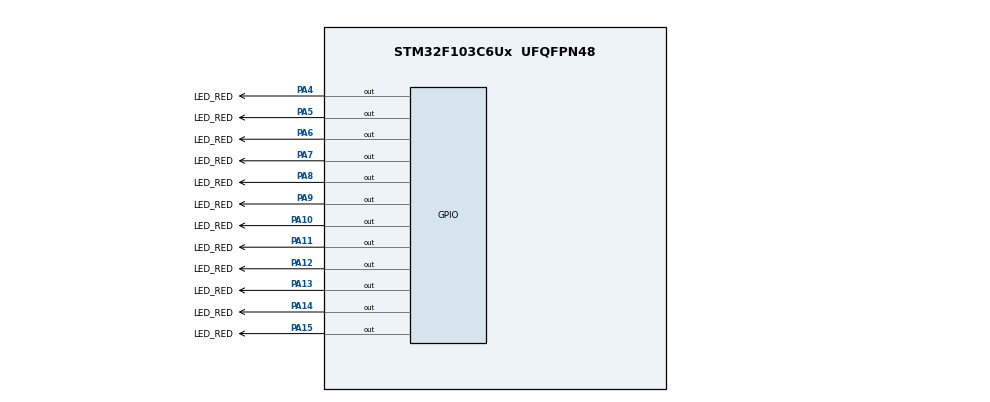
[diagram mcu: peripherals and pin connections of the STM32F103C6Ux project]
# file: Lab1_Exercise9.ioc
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Mcu.Family=STM32F1
Mcu.Name=STM32F103C6Ux
Mcu.Package=UFQFPN48
NVIC.PriorityGroup=NVIC_PRIORITYGROUP_4
PA10.GPIO_Label=LED_RED
PA10.PinState=GPIO_PIN_SET
PA10.Signal=GPIO_Output
PA11.GPIO_Label=LED_RED
PA11.PinState=GPIO_PIN_SET
PA11.Signal=GPIO_Output
PA12.GPIO_Label=LED_RED
PA12.PinState=GPIO_PIN_SET
PA12.Signal=GPIO_Output
PA13.GPIO_Label=LED_RED
PA13.PinState=GPIO_PIN_SET
PA13.Signal=GPIO_Output
PA14.GPIO_Label=LED_RED
PA14.PinState=GPIO_PIN_SET
PA14.Signal=GPIO_Output
PA15.GPIO_Label=LED_RED
PA15.PinState=GPIO_PIN_SET
PA15.Signal=GPIO_Output
PA4.GPIO_Label=LED_RED
PA4.PinState=GPIO_PIN_SET
PA4.Signal=GPIO_Output
PA5.GPIO_Label=LED_RED
PA5.PinState=GPIO_PIN_SET
PA5.Signal=GPIO_Output
PA6.GPIO_Label=LED_RED
PA6.PinState=GPIO_PIN_SET
PA6.Signal=GPIO_Output
PA7.GPIO_Label=LED_RED
PA7.PinState=GPIO_PIN_SET
PA7.Signal=GPIO_Output
PA8.GPIO_Label=LED_RED
PA8.PinState=GPIO_PIN_SET
PA8.Signal=GPIO_Output
PA9.GPIO_Label=LED_RED
PA9.PinState=GPIO_PIN_SET
PA9.Signal=GPIO_Output
ProjectManager.HeapSize=0x200
ProjectManager.StackSize=0x400
ProjectManager.TargetToolchain=STM32CubeIDE
RCC.APB1Freq_Value=8000000
RCC.APB2Freq_Value=8000000
VP_SYS_VS_ND.Mode=No_Debug
board=custom

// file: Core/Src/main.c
/* USER CODE BEGIN Header */
/**
  ******************************************************************************
  * @file           : main.c
  * @brief          : Main program body
  ******************************************************************************
  * @attention
  *
  * <h2><center>&copy; Copyright (c) 2026 STMicroelectronics.
  * All rights reserved.</center></h2>
  *
  * This software component is licensed by ST under BSD 3-Clause license,
  * the "License"; You may not use this file except in compliance with the
  * License. You may obtain a copy of the License at:
  *                        opensource.org/licenses/BSD-3-Clause
  *
  ******************************************************************************
  */
/* USER CODE END Header */
#include "main.h"

/* USER CODE BEGIN PV */
uint8_t demo_ex9[] = {3, 6, 9, 0};
uint8_t index_ex9 = 0;
uint8_t reset_demo_ex9 = 0;
/* USER CODE END PV */

void SystemClock_Config(void);
static void MX_GPIO_Init(void);

/* USER CODE BEGIN 0 */
void setNumberOnClock(int num)
{
    switch (num)
    {
        case 0:
            HAL_GPIO_WritePin(GPIOA, GPIO_PIN_4, GPIO_PIN_RESET);
            break;
        case 1:
            HAL_GPIO_WritePin(GPIOA, GPIO_PIN_5, GPIO_PIN_RESET);
            break;
        case 2:
            HAL_GPIO_WritePin(GPIOA, GPIO_PIN_6, GPIO_PIN_RESET);
            break;
        case 3:
            HAL_GPIO_WritePin(GPIOA, GPIO_PIN_7, GPIO_PIN_RESET);
            break;
        case 4:
            HAL_GPIO_WritePin(GPIOA, GPIO_PIN_8, GPIO_PIN_RESET);
            break;
        case 5:
            HAL_GPIO_WritePin(GPIOA, GPIO_PIN_9, GPIO_PIN_RESET);
            break;
        case 6:
            HAL_GPIO_WritePin(GPIOA, GPIO_PIN_10, GPIO_PIN_RESET);
            break;
        case 7:
            HAL_GPIO_WritePin(GPIOA, GPIO_PIN_11, GPIO_PIN_RESET);
            break;
        case 8:
            HAL_GPIO_WritePin(GPIOA, GPIO_PIN_12, GPIO_PIN_RESET);
            break;
        case 9:
            HAL_GPIO_WritePin(GPIOA, GPIO_PIN_13, GPIO_PIN_RESET);
            break;
        case 10:
            HAL_GPIO_WritePin(GPIOA, GPIO_PIN_14, GPIO_PIN_RESET);
            break;
        case 11:
            HAL_GPIO_WritePin(GPIOA, GPIO_PIN_15, GPIO_PIN_RESET);
            break;
        default:
            break;
    }
}

void clearNumberOnClock(int num)
{
    switch (num)
    {
        case 0:
            HAL_GPIO_WritePin(GPIOA, GPIO_PIN_4, GPIO_PIN_SET);
            break;

        case 1:
            HAL_GPIO_WritePin(GPIOA, GPIO_PIN_5, GPIO_PIN_SET);
            break;

        case 2:
            HAL_GPIO_WritePin(GPIOA, GPIO_PIN_6, GPIO_PIN_SET);
            break;

        case 3:
            HAL_GPIO_WritePin(GPIOA, GPIO_PIN_7, GPIO_PIN_SET);
            break;

        case 4:
            HAL_GPIO_WritePin(GPIOA, GPIO_PIN_8, GPIO_PIN_SET);
            break;

        case 5:
            HAL_GPIO_WritePin(GPIOA, GPIO_PIN_9, GPIO_PIN_SET);
            break;

        case 6:
            HAL_GPIO_WritePin(GPIOA, GPIO_PIN_10, GPIO_PIN_SET);
            break;

        case 7:
            HAL_GPIO_WritePin(GPIOA, GPIO_PIN_11, GPIO_PIN_SET);
            break;

        case 8:
            HAL_GPIO_WritePin(GPIOA, GPIO_PIN_12, GPIO_PIN_SET);
            break;

        case 9:
            HAL_GPIO_WritePin(GPIOA, GPIO_PIN_13, GPIO_PIN_SET);
            break;

        case 10:
            HAL_GPIO_WritePin(GPIOA, GPIO_PIN_14, GPIO_PIN_SET);
            break;

        case 11:
            HAL_GPIO_WritePin(GPIOA, GPIO_PIN_15, GPIO_PIN_SET);
            break;

        default:
            break;
    }
}

void EX9_RUN(void)
{
    if (reset_demo_ex9 == 0)
    {
        // Tat tung LED theo thu tu
        clearNumberOnClock(demo_ex9[index_ex9]);

        index_ex9++;

        // Da tat het 4 LED
        if (index_ex9 >= 4)
        {
            index_ex9 = 0;
            reset_demo_ex9 = 1;
        }
    }
    else
    {
        // Sau 1 chu ky cho, bat lai 4 LED
        setNumberOnClock(0);
        setNumberOnClock(3);
        setNumberOnClock(6);
        setNumberOnClock(9);

        reset_demo_ex9 = 0;
    }
}
/* USER CODE END 0 */

int main(void)
{

  /* MCU Configuration--------------------------------------------------------*/

  /* Reset of all peripherals, Initializes the Flash interface and the Systick. */
  HAL_Init();

  /* Configure the system clock */
  SystemClock_Config();

  /* Initialize all configured peripherals */
  MX_GPIO_Init();
  /* USER CODE BEGIN 2 */
  setNumberOnClock(0);   // 12 gio
  setNumberOnClock(3);   // 3 gio
  setNumberOnClock(6);   // 6 gio
  setNumberOnClock(9);   // 9 gio
  /* USER CODE END 2 */

  /* Infinite loop */
  while (1)
  {
	  EX9_RUN();
	  HAL_Delay(1000);
  }
}

void SystemClock_Config(void)
{
  RCC_OscInitTypeDef RCC_OscInitStruct = {0};
  RCC_ClkInitTypeDef RCC_ClkInitStruct = {0};

  /** Initializes the RCC Oscillators according to the specified parameters
  * in the RCC_OscInitTypeDef structure.
  */
  RCC_OscInitStruct.OscillatorType = RCC_OSCILLATORTYPE_HSI;
  RCC_OscInitStruct.HSIState = RCC_HSI_ON;
  RCC_OscInitStruct.HSICalibrationValue = RCC_HSICALIBRATION_DEFAULT;
  RCC_OscInitStruct.PLL.PLLState = RCC_PLL_NONE;
  if (HAL_RCC_OscConfig(&RCC_OscInitStruct) != HAL_OK)
  {
    Error_Handler();
  }
  /** Initializes the CPU, AHB and APB buses clocks
  */
  RCC_ClkInitStruct.ClockType = RCC_CLOCKTYPE_HCLK|RCC_CLOCKTYPE_SYSCLK
                              |RCC_CLOCKTYPE_PCLK1|RCC_CLOCKTYPE_PCLK2;
  RCC_ClkInitStruct.SYSCLKSource = RCC_SYSCLKSOURCE_HSI;
  RCC_ClkInitStruct.AHBCLKDivider = RCC_SYSCLK_DIV1;
  RCC_ClkInitStruct.APB1CLKDivider = RCC_HCLK_DIV1;
  RCC_ClkInitStruct.APB2CLKDivider = RCC_HCLK_DIV1;

  if (HAL_RCC_ClockConfig(&RCC_ClkInitStruct, FLASH_LATENCY_0) != HAL_OK)
  {
    Error_Handler();
  }
}

static void MX_GPIO_Init(void)
{
  GPIO_InitTypeDef GPIO_InitStruct = {0};

  /* GPIO Ports Clock Enable */
  __HAL_RCC_GPIOA_CLK_ENABLE();

  /*Configure GPIO pin Output Level */
  HAL_GPIO_WritePin(GPIOA, LED_RED_Pin|LED_REDA5_Pin|LED_REDA6_Pin|LED_REDA7_Pin
                          |LED_REDA8_Pin|LED_REDA9_Pin|LED_REDA10_Pin|LED_REDA11_Pin
                          |LED_REDA12_Pin|LED_REDA13_Pin|LED_REDA14_Pin|LED_REDA15_Pin, GPIO_PIN_SET);

  /*Configure GPIO pins : LED_RED_Pin LED_REDA5_Pin LED_REDA6_Pin LED_REDA7_Pin
                           LED_REDA8_Pin LED_REDA9_Pin LED_REDA10_Pin LED_REDA11_Pin
                           LED_REDA12_Pin LED_REDA13_Pin LED_REDA14_Pin LED_REDA15_Pin */
  GPIO_InitStruct.Pin = LED_RED_Pin|LED_REDA5_Pin|LED_REDA6_Pin|LED_REDA7_Pin
                          |LED_REDA8_Pin|LED_REDA9_Pin|LED_REDA10_Pin|LED_REDA11_Pin
                          |LED_REDA12_Pin|LED_REDA13_Pin|LED_REDA14_Pin|LED_REDA15_Pin;
  GPIO_InitStruct.Mode = GPIO_MODE_OUTPUT_PP;
  GPIO_InitStruct.Pull = GPIO_NOPULL;
  GPIO_InitStruct.Speed = GPIO_SPEED_FREQ_LOW;
  HAL_GPIO_Init(GPIOA, &GPIO_InitStruct);

}

void Error_Handler(void)
{
  __disable_irq();
  while (1)
  {
  }
}

/************************ (C) COPYRIGHT STMicroelectronics *****END OF FILE****/
